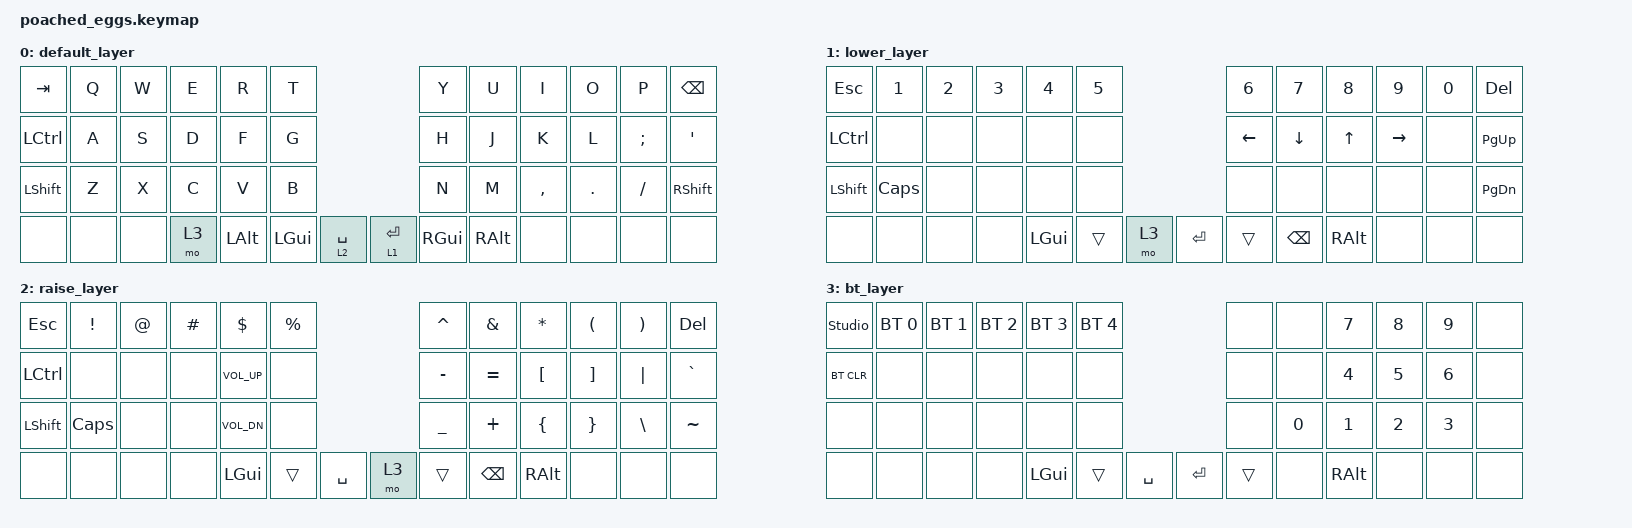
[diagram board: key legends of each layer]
#include <behaviors.dtsi>
#include <dt-bindings/zmk/bt.h>
#include <dt-bindings/zmk/keys.h>

/ {
    keymap {
        compatible = "zmk,keymap";

        default_layer {
            bindings = <
&kp TAB    &kp Q      &kp W      &kp E      &kp R      &kp T                              &kp Y      &kp U      &kp I      &kp O      &kp P      &kp BSPC
&kp LCTRL  &kp A      &kp S      &kp D      &kp F      &kp G                              &kp H      &kp J      &kp K      &kp L      &kp SEMI   &kp SQT
&kp LSHFT  &kp Z      &kp X      &kp C      &kp V      &kp B                              &kp N      &kp M      &kp COMMA  &kp DOT    &kp FSLH   &kp RSHFT
&none      &none      &none      &mo 3      &kp LALT   &kp LGUI   &lt 2 SPACE  &lt 1 RET  &kp RGUI   &kp RALT   &none      &none      &none      &none
            >;
        };

        lower_layer {
            bindings = <
&kp ESC    &kp N1     &kp N2     &kp N3     &kp N4     &kp N5                     &kp N6     &kp N7     &kp N8     &kp N9     &kp N0     &kp DEL
&kp LCTRL  &none      &none      &none      &none      &none                      &kp LEFT   &kp DOWN   &kp UP     &kp RIGHT  &none      &kp PG_UP
&kp LSHFT  &kp CAPS   &none      &none      &none      &none                      &none      &none      &none      &none      &none      &kp PG_DN
&none      &none      &none      &none      &kp LGUI   &trans     &mo 3  &kp RET  &trans     &kp BSPC   &kp RALT   &none      &none      &none
            >;
        };

        raise_layer {
            bindings = <
&kp ESC    &kp EXCL   &kp AT     &kp HASH   &kp DOLLAR    &kp PRCNT                 &kp CARET  &kp AMPS   &kp ASTRK       &kp LPAR         &kp RPAR  &kp DEL
&kp LCTRL  &none      &none      &none      &kp C_VOL_UP  &none                     &kp MINUS  &kp EQUAL  &kp LBKT        &kp RBKT         &kp PIPE  &kp GRAVE
&kp LSHFT  &kp CAPS   &none      &none      &kp C_VOL_DN  &none                     &kp UNDER  &kp PLUS   &kp LEFT_BRACE  &kp RIGHT_BRACE  &kp BSLH  &kp TILDE
&none      &none      &none      &none      &kp LGUI      &trans  &kp SPACE  &mo 3  &trans     &kp BSPC   &kp RALT        &none            &none     &none
            >;
        };

        bt_layer {
            bindings = <
&studio_unlock  &bt BT_SEL 0  &bt BT_SEL 1  &bt BT_SEL 2  &bt BT_SEL 3  &bt BT_SEL 4                     &none      &none      &kp N7     &kp N8     &kp N9     &none
&bt BT_CLR      &none         &none         &none         &none         &none                            &none      &none      &kp N4     &kp N5     &kp N6     &none
&none           &none         &none         &none         &none         &none                            &none      &kp N0     &kp N1     &kp N2     &kp N3     &none
&none           &none         &none         &none         &kp LGUI      &trans       &kp SPACE  &kp RET  &trans     &none      &kp RALT   &none      &none      &none
            >;
        };
    };
};
